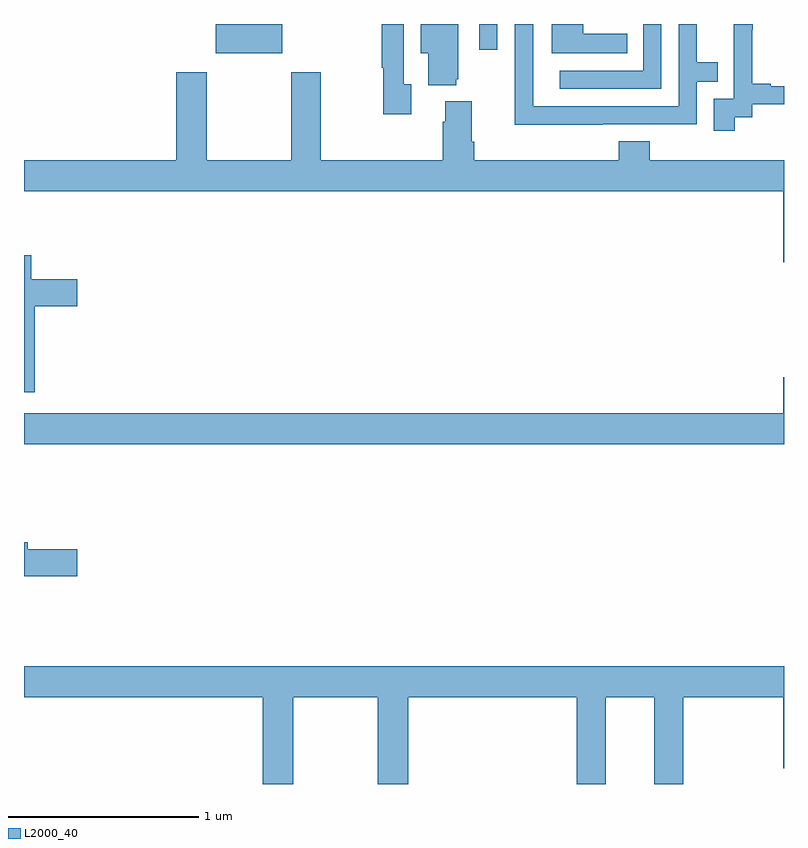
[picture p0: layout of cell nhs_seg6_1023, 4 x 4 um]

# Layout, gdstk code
import gdstk
lib = gdstk.Library(unit=1e-6, precision=1e-09)
def R(c, l, rs):  # rectangles x0, y0, x1, y1
    for r in rs: c.add(gdstk.rectangle(r[:2], r[2:], *l))
def P(c, l, *ps):  # polygons
    for p in ps: c.add(gdstk.Polygon(p, *l))
L2000_40 = (2000, 40)

nhs_seg6_1023 = lib.new_cell('nhs_seg6_1023')
R(nhs_seg6_1023, L2000_40, [(174.008,997.346,174.358,997.5), (175.395,997.365,175.491,997.5)])
P(nhs_seg6_1023, L2000_40, [(176.045,996.972),(176.541,996.972),(176.541,997.197),(176.651,997.197),(176.651,997.298),(176.541,997.298),(176.541,997.5),(176.445,997.5),(176.445,997.068),(175.681,997.068),(175.681,997.286),(175.68,997.286),(175.68,997.5),(175.584,997.5),(175.584,997.277),(175.582,997.277),(175.582,996.971),(176.045,996.971)],
  [(176.174,997.45),(175.944,997.45),(175.944,997.5),(175.778,997.5),(175.778,997.346),(176.174,997.346)],
  [(176.355,997.5),(176.259,997.5),(176.259,997.254),(175.821,997.254),(175.821,997.158),(176.355,997.158)],
  [(175.039,997.182),(174.999,997.182),(174.999,997.5),(174.883,997.5),(174.883,997.27),(174.891,997.27),(174.891,997.026),(175.039,997.026)],
  [(175.274,997.209),(175.285,997.209),(175.285,997.5),(175.088,997.5),(175.088,997.346),(175.127,997.346),(175.127,997.178),(175.274,997.178)],
  [(176.74,997.009),(176.832,997.009),(176.832,997.077),(177,997.077),(177,997.173),(176.929,997.173),(176.929,997.186),(176.834,997.186),(176.834,997.469),(176.835,997.469),(176.835,997.5),(176.735,997.5),(176.735,997.337),(176.736,997.337),(176.736,997.107),(176.631,997.107),(176.631,996.939),(176.74,996.939)],
  [(177,996.784),(176.294,996.784),(176.294,996.883),(176.129,996.883),(176.129,996.784),(175.37,996.784),(175.37,996.88),(175.357,996.88),(175.357,997.093),(175.217,997.093),(175.217,996.986),(175.205,996.986),(175.205,996.784),(174.561,996.784),(174.561,997.246),(174.406,997.246),(174.406,996.784),(173.961,996.784),(173.961,997.246),(173.801,997.246),(173.801,996.784),(173,996.784),(173,996.62),(176.996,996.62),(176.996,996.246),(177,996.246)],
  [(173.057,996.014),(173.281,996.014),(173.281,996.156),(173.038,996.156),(173.038,996.283),(173,996.283),(173,995.562),(173.057,995.562)],
  [(177,995.641),(176.996,995.641),(176.996,995.452),(173,995.452),(173,995.288),(177,995.288)],
  [(173.281,994.736),(173.02,994.736),(173.02,994.772),(173,994.772),(173,994.594),(173.281,994.594)],
  [(174.417,993.956),(174.862,993.956),(174.862,993.5),(175.022,993.5),(175.022,993.956),(175.91,993.956),(175.91,993.5),(176.062,993.5),(176.062,993.956),(176.318,993.956),(176.318,993.5),(176.471,993.5),(176.471,993.956),(176.996,993.956),(176.996,993.582),(177,993.582),(177,994.12),(173,994.12),(173,993.956),(174.257,993.956),(174.257,993.5),(174.417,993.5)])

lib.write_gds('nhs_seg6_1023.gds')
